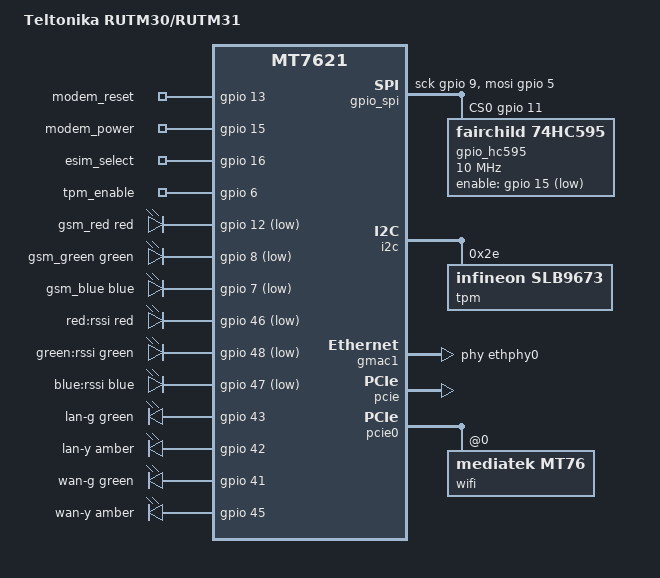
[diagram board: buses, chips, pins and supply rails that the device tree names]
// SPDX-License-Identifier: GPL-2.0-or-later OR MIT

#include "mt7621_teltonika_rutm-common.dtsi"

/ {
	compatible = "teltonika,rutm30", "mediatek,mt7621-soc";
	model = "Teltonika RUTM30/RUTM31";

	gpio_spi {
		compatible = "spi-gpio";
		#address-cells = <1>;
		#size-cells = <0>;

		sck-gpios = <&gpio 9 GPIO_ACTIVE_HIGH>;
		mosi-gpios = <&gpio 5 GPIO_ACTIVE_HIGH>;
		cs-gpios = <&gpio 11 GPIO_ACTIVE_HIGH>;
		num-chipselects = <1>;

		gpio_hc595: gpio_hc595@0 {
			compatible = "fairchild,74hc595";
			reg = <0>;
			gpio-controller;
			#gpio-cells = <2>;
			registers-number = <2>;
			spi-max-frequency = <10000000>;
			enable-gpios = <&gpio 15 GPIO_ACTIVE_LOW>;
		};
	};

	gpio-export {
		compatible = "gpio-export";

		gpio_modem_reset {
			gpio-export,name = "modem_reset";
			gpio-export,output = <0>;
			gpios = <&gpio 13 GPIO_ACTIVE_HIGH>;
		};

		gpio_modem_power {
			gpio-export,name = "modem_power";
			gpio-export,output = <0>;
			gpios = <&gpio 15 GPIO_ACTIVE_HIGH>;
		};

		gpio_esim_select {
			gpio-export,name = "esim_select";
			gpio-export,output = <0>;
			gpios = <&gpio 16 GPIO_ACTIVE_HIGH>;
		};

		gpio_tpm_enable {
			gpio-export,name = "tpm_enable";
			gpio-export,output = <1>;
			gpios = <&gpio 6 GPIO_ACTIVE_HIGH>;
		};
	};

	leds {
		compatible = "gpio-leds";

		gsm_red {
			function = LED_FUNCTION_MOBILE;
			color = <LED_COLOR_ID_RED>;
			gpios = <&gpio 12 GPIO_ACTIVE_LOW>;
		};

		gsm_green {
			function = LED_FUNCTION_MOBILE;
			color = <LED_COLOR_ID_GREEN>;
			gpios = <&gpio 8 GPIO_ACTIVE_LOW>;
		};

		gsm_blue {
			function = LED_FUNCTION_MOBILE;
			color = <LED_COLOR_ID_BLUE>;
			gpios = <&gpio 7 GPIO_ACTIVE_LOW>;
		};

		rssi_red {
			label = "red:rssi";
			color = <LED_COLOR_ID_RED>;
			gpios = <&gpio 46 GPIO_ACTIVE_LOW>;
		};

		rssi_green {
			label = "green:rssi";
			color = <LED_COLOR_ID_GREEN>;
			gpios = <&gpio 48 GPIO_ACTIVE_LOW>;
		};

		rssi_blue {
			label = "blue:rssi";
			color = <LED_COLOR_ID_BLUE>;
			gpios = <&gpio 47 GPIO_ACTIVE_LOW>;
		};

		lan-g {
			function = LED_FUNCTION_LAN;
			color = <LED_COLOR_ID_GREEN>;
			gpios = <&gpio 43 GPIO_ACTIVE_HIGH>;
			linux,default-trigger = "mt7530-0:01:1Gbps";
		};

		lan-y {
			function = LED_FUNCTION_LAN;
			color = <LED_COLOR_ID_AMBER>;
			gpios = <&gpio 42 GPIO_ACTIVE_HIGH>;
			linux,default-trigger = "mt7530-0:01:100Mbps";
		};

		wan-g {
			function = LED_FUNCTION_WAN;
			color = <LED_COLOR_ID_GREEN>;
			gpios = <&gpio 41 GPIO_ACTIVE_HIGH>;
			linux,default-trigger = "mt7530-0:00:1Gbps";
		};

		wan-y {
			function = LED_FUNCTION_WAN;
			color = <LED_COLOR_ID_AMBER>;
			gpios = <&gpio 45 GPIO_ACTIVE_HIGH>;
			linux,default-trigger = "mt7530-0:00:100Mbps";
		};
	};
};

&switch0 {
	ports {
		port@1 {
			status = "okay";
			label = "lan";
		};
	};
};

&i2c {
	status = "okay";

	tpm: tpm@2e {
		compatible = "infineon,slb9673";
		reg = <0x2e>;
		status = "okay";
	};
};

&gmac1 {
	phy-handle = <&ethphy0>;
};

&ethphy0 {
	/delete-property/ interrupts;
};

&pcie {
	status = "okay";
};

&pcie0 {
	wifi@0,0 {
		compatible = "mediatek,mt76";
		reg = <0x0000 0 0 0 0>;
		nvmem-cells = <&eeprom_factory_0>;
		nvmem-cell-names = "eeprom";
		#address-cells = <1>;
		#size-cells = <0>;

		band@0 {
			reg = <0>;
			nvmem-cells = <&macaddr_config_0 2>;
			nvmem-cell-names = "mac-address";
		};

		band@1 {
			reg = <1>;
			nvmem-cells = <&macaddr_config_0 3>;
			nvmem-cell-names = "mac-address";
		};
	};
};
